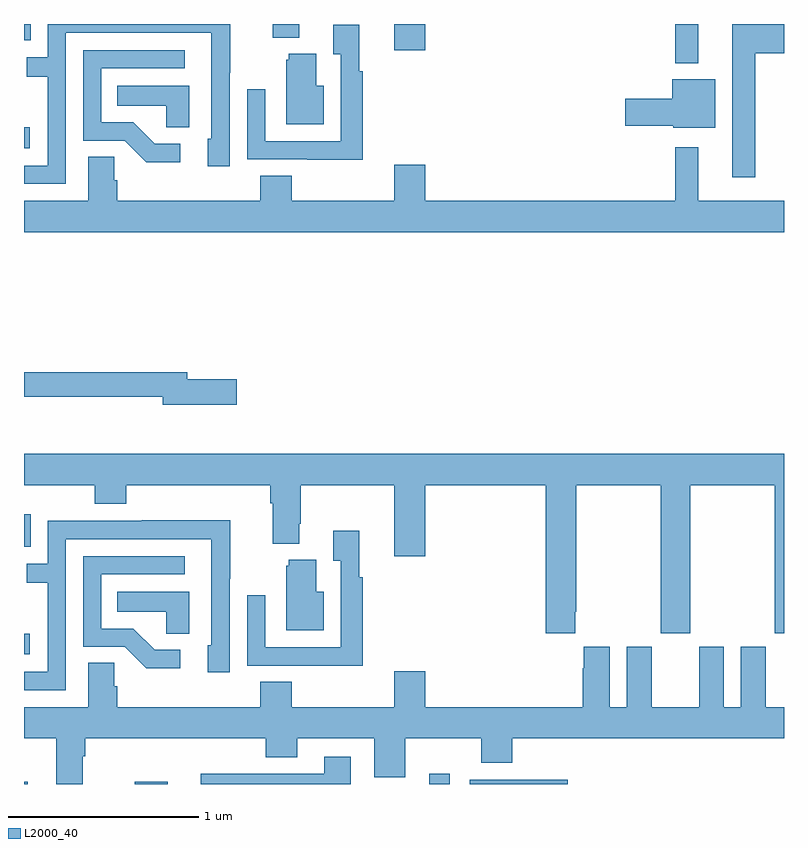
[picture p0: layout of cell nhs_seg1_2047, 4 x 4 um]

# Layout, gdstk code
import gdstk
lib = gdstk.Library(unit=1e-6, precision=1e-09)
def R(c, l, rs):  # rectangles x0, y0, x1, y1
    for r in rs: c.add(gdstk.rectangle(r[:2], r[2:], *l))
def P(c, l, *ps):  # polygons
    for p in ps: c.add(gdstk.Polygon(p, *l))
L2000_40 = (2000, 40)

nhs_seg1_2047 = lib.new_cell('nhs_seg1_2047')
R(nhs_seg1_2047, L2000_40, [(223,510.199,223.021,510.211), (223.583,510.199,223.756,510.211), (225.132,510.199,225.241,510.253), (225.345,510.199,225.862,510.222), (223,510.881,223.03,510.991), (223,511.449,223.035,511.618), (223,513.545,223.03,513.655), (226.428,513.992,226.549,514.199), (224.948,514.062,225.112,514.199), (223,514.113,223.035,514.199), (224.309,514.127,224.449,514.199)])
P(nhs_seg1_2047, L2000_40, [(226.849,514.046),(227,514.046),(227,514.199),(226.727,514.199),(226.727,513.393),(226.849,513.393)],
  [(223.221,514.152),(223.986,514.152),(223.986,513.594),(223.967,513.594),(223.967,513.45),(224.082,513.45),(224.082,513.943),(224.085,513.943),(224.085,514.199),(223.125,514.199),(223.125,514.023),(223.015,514.023),(223.015,513.922),(223.125,513.922),(223.125,513.453),(223,513.453),(223,513.357),(223.221,513.357)],
  [(224.783,513.95),(224.765,513.95),(224.765,514.195),(224.627,514.195),(224.627,514.039),(224.667,514.039),(224.667,513.582),(224.271,513.582),(224.271,513.856),(224.175,513.856),(224.175,513.486),(224.491,513.486),(224.491,513.485),(224.783,513.485)],
  [(223.822,513.57),(223.687,513.57),(223.576,513.681),(223.407,513.681),(223.407,513.966),(223.846,513.966),(223.846,514.062),(223.311,514.062),(223.311,513.585),(223.53,513.585),(223.643,513.472),(223.822,513.472)],
  [(224.578,513.874),(224.539,513.874),(224.539,514.042),(224.393,514.042),(224.393,514.011),(224.381,514.011),(224.381,513.671),(224.578,513.671)],
  [(226.639,513.907),(226.412,513.907),(226.412,513.806),(226.164,513.806),(226.164,513.664),(226.416,513.664),(226.416,513.653),(226.639,513.653)],
  [(223.87,513.874),(223.492,513.874),(223.492,513.77),(223.749,513.77),(223.749,513.655),(223.87,513.655)],
  [(227,513.268),(226.549,513.268),(226.549,513.55),(226.428,513.55),(226.428,513.268),(225.112,513.268),(225.112,513.457),(224.948,513.457),(224.948,513.268),(224.408,513.268),(224.408,513.401),(224.243,513.401),(224.243,513.268),(223.49,513.268),(223.49,513.377),(223.476,513.377),(223.476,513.5),(223.337,513.5),(223.337,513.268),(223,513.268),(223,513.104),(227,513.104)],
  [(224.119,512.33),(223.858,512.33),(223.858,512.366),(223,512.366),(223,512.238),(223.73,512.238),(223.73,512.195),(224.119,512.195)],
  [(223,511.772),(223.373,511.772),(223.373,511.673),(223.538,511.673),(223.538,511.772),(224.297,511.772),(224.297,511.676),(224.309,511.676),(224.309,511.463),(224.449,511.463),(224.449,511.57),(224.457,511.57),(224.457,511.772),(224.948,511.772),(224.948,511.398),(225.112,511.398),(225.112,511.772),(225.746,511.772),(225.746,510.993),(225.901,510.993),(225.901,511.105),(225.906,511.105),(225.906,511.772),(226.351,511.772),(226.351,510.993),(226.506,510.993),(226.506,511.772),(226.951,511.772),(226.951,510.993),(227,510.993),(227,511.936),(223,511.936)],
  [(223.221,511.488),(223.986,511.488),(223.986,510.93),(223.967,510.93),(223.967,510.786),(224.082,510.786),(224.082,511.279),(224.085,511.279),(224.085,511.586),(223.621,511.586),(223.621,511.584),(223.125,511.584),(223.125,511.359),(223.015,511.359),(223.015,511.258),(223.125,511.258),(223.125,510.789),(223,510.789),(223,510.693),(223.221,510.693)],
  [(224.783,511.286),(224.765,511.286),(224.765,511.531),(224.627,511.531),(224.627,511.375),(224.667,511.375),(224.667,510.918),(224.271,510.918),(224.271,511.192),(224.175,511.192),(224.175,510.822),(224.491,510.822),(224.491,510.821),(224.783,510.821)],
  [(223.822,510.906),(223.687,510.906),(223.576,511.017),(223.407,511.017),(223.407,511.302),(223.846,511.302),(223.846,511.398),(223.311,511.398),(223.311,510.921),(223.53,510.921),(223.643,510.809),(223.822,510.809)],
  [(224.578,511.21),(224.539,511.21),(224.539,511.378),(224.393,511.378),(224.393,511.347),(224.381,511.347),(224.381,511.007),(224.578,511.007)],
  [(223.87,511.21),(223.492,511.21),(223.492,511.106),(223.749,511.106),(223.749,510.991),(223.87,510.991)],
  [(223.309,510.344),(223.322,510.344),(223.322,510.44),(224.273,510.44),(224.273,510.341),(224.437,510.341),(224.437,510.44),(224.843,510.44),(224.843,510.234),(225.007,510.234),(225.007,510.44),(225.407,510.44),(225.407,510.312),(225.571,510.312),(225.571,510.44),(227,510.44),(227,510.604),(226.903,510.604),(226.903,510.922),(226.772,510.922),(226.772,510.604),(226.684,510.604),(226.684,510.922),(226.553,510.922),(226.553,510.604),(226.303,510.604),(226.303,510.922),(226.172,510.922),(226.172,510.604),(226.084,510.604),(226.084,510.922),(225.947,510.922),(225.947,510.809),(225.941,510.809),(225.941,510.604),(225.112,510.604),(225.112,510.793),(224.948,510.793),(224.948,510.604),(224.408,510.604),(224.408,510.737),(224.243,510.737),(224.243,510.604),(223.49,510.604),(223.49,510.713),(223.476,510.713),(223.476,510.836),(223.337,510.836),(223.337,510.604),(223,510.604),(223,510.44),(223.169,510.44),(223.169,510.199),(223.309,510.199)],
  [(224.719,510.343),(224.579,510.343),(224.579,510.252),(224.149,510.252),(224.149,510.254),(223.931,510.254),(223.931,510.199),(224.719,510.199)])

lib.write_gds('nhs_seg1_2047.gds')
